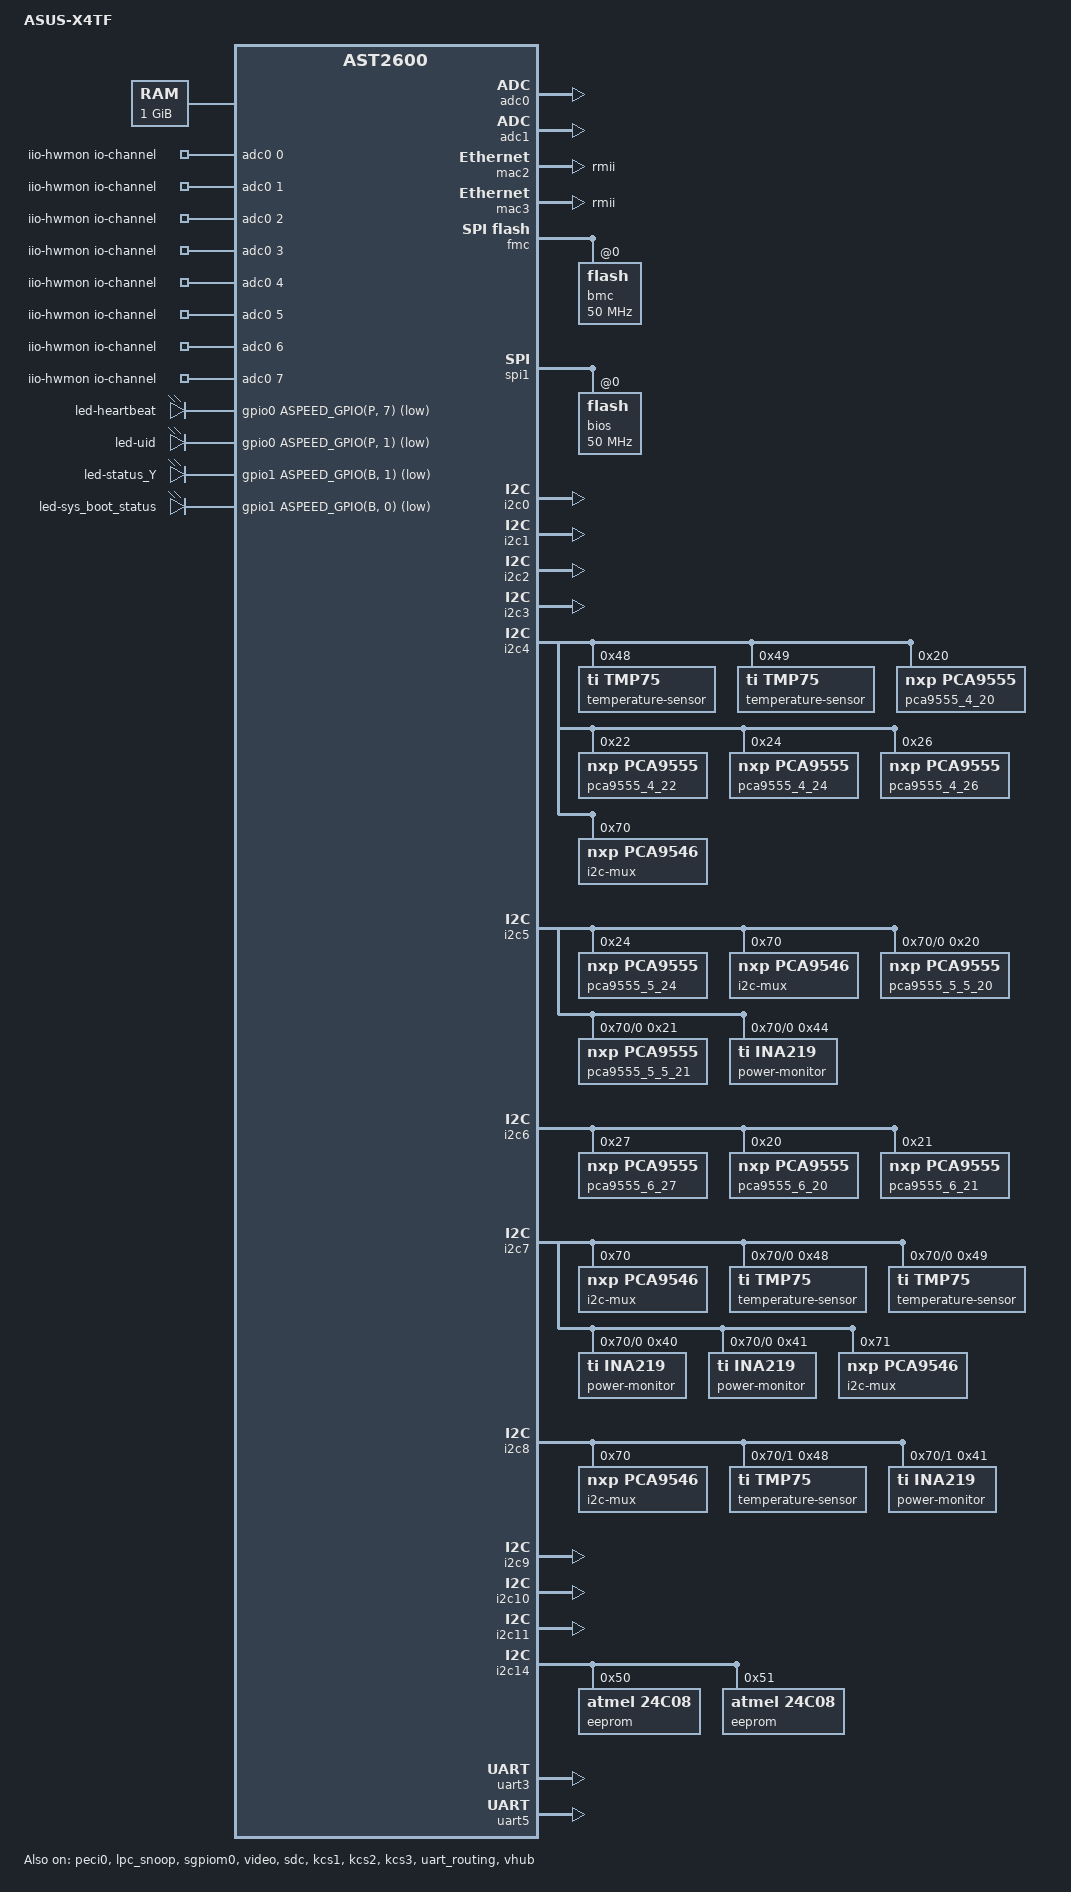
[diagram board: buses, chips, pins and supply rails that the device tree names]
// SPDX-License-Identifier: GPL-2.0-or-later
// Copyright 2024 ASUS Corp.

/dts-v1/;

#include "aspeed-g6.dtsi"
#include "aspeed-g6-pinctrl.dtsi"
#include <dt-bindings/i2c/i2c.h>
#include <dt-bindings/gpio/aspeed-gpio.h>

/ {
	model = "ASUS-X4TF";
	compatible = "asus,x4tf-bmc", "aspeed,ast2600";

	aliases {
		serial4 = &uart5;
	};

	chosen {
		stdout-path = "serial4:115200n8";
	};

	memory@80000000 {
		device_type = "memory";
		reg = <0x80000000 0x40000000>;
	};

	reserved-memory {
		#address-cells = <1>;
		#size-cells = <1>;
		ranges;

		video_engine_memory: video {
			size = <0x04000000>;
			alignment = <0x01000000>;
			compatible = "shared-dma-pool";
			reusable;
		};
	};

	iio-hwmon {
		compatible = "iio-hwmon";
		io-channels = <&adc0 0>, <&adc0 1>, <&adc0 2>, <&adc0 3>,
				<&adc0 4>, <&adc0 5>, <&adc0 6>, <&adc0 7>,
				<&adc1 0>, <&adc1 1>, <&adc1 2>, <&adc1 3>,
				<&adc1 4>, <&adc1 5>, <&adc1 6>, <&adc1 7>;
	};

	leds {
		compatible = "gpio-leds";

		led-heartbeat {
			gpios = <&gpio0 ASPEED_GPIO(P, 7) GPIO_ACTIVE_LOW>;
			linux,default-trigger = "heartbeat";
		};

		led-uid {
			gpios = <&gpio0 ASPEED_GPIO(P, 1) (GPIO_ACTIVE_LOW | GPIO_OPEN_DRAIN)>;
			default-state = "off";
		};

		led-status_Y {
			gpios = <&gpio1 ASPEED_GPIO(B, 1) GPIO_ACTIVE_LOW>;
			default-state = "off";
		};

		led-sys_boot_status {
			gpios = <&gpio1 ASPEED_GPIO(B, 0) GPIO_ACTIVE_LOW>;
			default-state = "off";
		};
	};
};

&adc0 {
	vref = <2500>;
	status = "okay";
	pinctrl-names = "default";
	pinctrl-0 = <&pinctrl_adc0_default &pinctrl_adc1_default
		&pinctrl_adc2_default &pinctrl_adc3_default
		&pinctrl_adc4_default &pinctrl_adc5_default
		&pinctrl_adc6_default &pinctrl_adc7_default>;
};

&adc1 {
	vref = <2500>;
	status = "okay";
	pinctrl-names = "default";
	pinctrl-0 = <&pinctrl_adc8_default &pinctrl_adc9_default
		&pinctrl_adc10_default &pinctrl_adc11_default
		&pinctrl_adc12_default &pinctrl_adc13_default
		&pinctrl_adc14_default &pinctrl_adc15_default>;
};

&peci0 {
	status = "okay";
};

&lpc_snoop {
	snoop-ports = <0x80>;
	status = "okay";
};

&mac2 {
	status = "okay";
	phy-mode = "rmii";
	use-ncsi;
	pinctrl-names = "default";
	pinctrl-0 = <&pinctrl_rmii3_default>;
};

&mac3 {
	status = "okay";
	phy-mode = "rmii";
	use-ncsi;
	pinctrl-names = "default";
	pinctrl-0 = <&pinctrl_rmii4_default>;
};

&fmc {
	status = "okay";

	flash@0 {
		status = "okay";
		m25p,fast-read;
		label = "bmc";
		spi-max-frequency = <50000000>;
#include "openbmc-flash-layout-64.dtsi"
	};
};

&spi1 {
	status = "okay";
	pinctrl-names = "default";
	pinctrl-0 = <&pinctrl_spi1_default>;

	flash@0 {
		status = "okay";
		label = "bios";
		spi-max-frequency = <50000000>;
	};
};

&i2c0 {
	status = "okay";
};

&i2c1 {
	status = "okay";
};

&i2c2 {
	status = "okay";
};

&i2c3 {
	status = "okay";
};

&i2c4 {
	status = "okay";

	temperature-sensor@48 {
		compatible = "ti,tmp75";
		reg = <0x48>;
	};

	temperature-sensor@49 {
		compatible = "ti,tmp75";
		reg = <0x49>;
	};

	pca9555_4_20: gpio@20 {
		compatible = "nxp,pca9555";
		reg = <0x20>;
		gpio-controller;
		#gpio-cells = <2>;
	};

	pca9555_4_22: gpio@22 {
		compatible = "nxp,pca9555";
		reg = <0x22>;
		gpio-controller;
		#gpio-cells = <2>;
	};

	pca9555_4_24: gpio@24 {
		compatible = "nxp,pca9555";
		reg = <0x24>;
		gpio-controller;
		#gpio-cells = <2>;
		gpio-line-names =
		/*A0 - A3 0*/	"", "STRAP_BMC_BATTERY_GPIO1", "", "",
		/*A4 - A7 4*/	"", "", "", "",
		/*B0 - B7 8*/	"", "", "", "", "", "", "", "";
	};

	pca9555_4_26: gpio@26 {
		compatible = "nxp,pca9555";
		reg = <0x26>;
		gpio-controller;
		#gpio-cells = <2>;
	};

	i2c-mux@70 {
		compatible = "nxp,pca9546";
		status = "okay";
		reg = <0x70>;
		#address-cells = <1>;
		#size-cells = <0>;

		channel_1: i2c@0 {
			#address-cells = <1>;
			#size-cells = <0>;
			reg = <0>;
		};

		channel_2: i2c@1 {
			#address-cells = <1>;
			#size-cells = <0>;
			reg = <1>;
		};

		channel_3: i2c@2 {
			#address-cells = <1>;
			#size-cells = <0>;
			reg = <2>;
		};

		channel_4: i2c@3 {
			#address-cells = <1>;
			#size-cells = <0>;
			reg = <3>;
		};
	};
};

&i2c5 {
	status = "okay";

	pca9555_5_24: gpio@24 {
		compatible = "nxp,pca9555";
		reg = <0x24>;
		gpio-controller;
		#gpio-cells = <2>;
	};

	i2c-mux@70  {
		compatible = "nxp,pca9546";
		status = "okay";
		reg = <0x70 >;
		#address-cells = <1>;
		#size-cells = <0>;

		channel_5: i2c@0 {
			#address-cells = <1>;
			#size-cells = <0>;
			reg = <0>;

			pca9555_5_5_20: gpio@20 {
				compatible = "nxp,pca9555";
				reg = <0x20>;
				gpio-controller;
				#gpio-cells = <2>;
				gpio-line-names =
					"", "", "", "", "", "", "", "",
					"", "", "SYS_FAN6", "SYS_FAN5",
					"SYS_FAN4", "SYS_FAN3",
					"SYS_FAN2", "SYS_FAN1";
			};

			pca9555_5_5_21: gpio@21 {
				compatible = "nxp,pca9555";
				reg = <0x21>;
				gpio-controller;
				#gpio-cells = <2>;
			};

			power-monitor@44 {
				compatible = "ti,ina219";
				reg = <0x44>;
				shunt-resistor = <2>;
			};
		};

		channel_6: i2c@1 {
			#address-cells = <1>;
			#size-cells = <0>;
			reg = <1>;
		};

		channel_7: i2c@2 {
			#address-cells = <1>;
			#size-cells = <0>;
			reg = <2>;
		};

		channel_8: i2c@3 {
			#address-cells = <1>;
			#size-cells = <0>;
			reg = <3>;
		};
	};
};

&i2c6 {
	status = "okay";

	pca9555_6_27: gpio@27 {
		compatible = "nxp,pca9555";
		reg = <0x27>;
		gpio-controller;
		#gpio-cells = <2>;
	};

	pca9555_6_20: gpio@20 {
		compatible = "nxp,pca9555";
		reg = <0x20>;
		gpio-controller;
		#gpio-cells = <2>;
		gpio-line-names =
		/*A0 0*/	"", "", "", "", "", "", "", "",
		/*B0 8*/	"Drive_NVMe1", "Drive_NVMe2", "", "",
		/*B4 12*/	"", "", "", "";
	};

	pca9555_6_21: gpio@21 {
		compatible = "nxp,pca9555";
		reg = <0x21>;
		gpio-controller;
		#gpio-cells = <2>;
	};
};

&i2c7 {
	status = "okay";

	i2c-mux@70 {
		compatible = "nxp,pca9546";
		status = "okay";
		reg = <0x70>;
		#address-cells = <1>;
		#size-cells = <0>;
		idle-state = <1>;

		channel_9: i2c@0 {
			#address-cells = <1>;
			#size-cells = <0>;
			reg = <0>;

			temperature-sensor@48 {
				compatible = "ti,tmp75";
				reg = <0x48>;
			};

			temperature-sensor@49 {
				compatible = "ti,tmp75";
				reg = <0x49>;
			};

			power-monitor@40 {
				compatible = "ti,ina219";
				reg = <0x40>;
				shunt-resistor = <2>;
			};

			power-monitor@41 {
				compatible = "ti,ina219";
				reg = <0x41>;
				shunt-resistor = <5>;
			};
		};

		channel_10: i2c@1 {
			#address-cells = <1>;
			#size-cells = <0>;
			reg = <1>;
		};

		channel_11: i2c@2 {
			#address-cells = <1>;
			#size-cells = <0>;
			reg = <2>;
		};

		channel_12: i2c@3 {
			#address-cells = <1>;
			#size-cells = <0>;
			reg = <3>;
		};
	};

	i2c-mux@71 {
		compatible = "nxp,pca9546";
		status = "okay";
		reg = <0x71>;
		#address-cells = <1>;
		#size-cells = <0>;
		i2c-mux-idle-disconnect;

		channel_13: i2c@0 {
			#address-cells = <1>;
			#size-cells = <0>;
			reg = <0>;
		};

		channel_14: i2c@1 {
			#address-cells = <1>;
			#size-cells = <0>;
			reg = <1>;
		};

		channel_15: i2c@2 {
			#address-cells = <1>;
			#size-cells = <0>;
			reg = <2>;
		};

		channel_16: i2c@3 {
			#address-cells = <1>;
			#size-cells = <0>;
			reg = <3>;
		};
	};
};

&i2c8 {
	status = "okay";

	i2c-mux@70 {
		compatible = "nxp,pca9546";
		status = "okay";
		reg = <0x70>;
		#address-cells = <1>;
		#size-cells = <0>;
		i2c-mux-idle-disconnect;

		channel_17: i2c@0 {
			#address-cells = <1>;
			#size-cells = <0>;
			reg = <0>;
		};

		channel_18: i2c@1 {
			#address-cells = <1>;
			#size-cells = <0>;
			reg = <1>;

			temperature-sensor@48 {
				compatible = "ti,tmp75";
				reg = <0x48>;
			};

			power-monitor@41 {
				compatible = "ti,ina219";
				reg = <0x41>;
				shunt-resistor = <5>;
			};
		};

		channel_19: i2c@2 {
			#address-cells = <1>;
			#size-cells = <0>;
			reg = <2>;
		};

		channel_20: i2c@3 {
			#address-cells = <1>;
			#size-cells = <0>;
			reg = <3>;
		};
	};
};

&i2c9 {
	status = "okay";
};

&i2c10 {
	status = "okay";
};

&i2c11 {
	status = "okay";
};

&i2c14 {
	status = "okay";
	multi-master;

	eeprom@50 {
		compatible = "atmel,24c08";
		reg = <0x50>;
	};

	eeprom@51 {
		compatible = "atmel,24c08";
		reg = <0x51>;
	};
};

&sgpiom0 {
	status = "okay";
	ngpios = <128>;
};

&video {
	status = "okay";
	memory-region = <&video_engine_memory>;
};

&sdc {
	status = "okay";
};

&lpc_snoop {
	status = "okay";
	snoop-ports = <0x80>;
};

&kcs1 {
	aspeed,lpc-io-reg = <0xca0>;
	status = "okay";
};

&kcs2 {
	aspeed,lpc-io-reg = <0xca8>;
	status = "okay";
};

&kcs3 {
	aspeed,lpc-io-reg = <0xca2>;
	status = "okay";
};

&uart3 {
	status = "okay";
};

&uart5 {
	status = "okay";
};

&uart_routing {
	status = "okay";
};

&vhub {
	status = "okay";
};

&gpio0 {
	gpio-line-names =
	/*A0 0*/	"", "", "", "", "", "", "", "",
	/*B0 8*/	"", "", "", "", "", "", "PS_PWROK", "",
	/*C0 16*/	"", "", "", "", "", "", "", "",
	/*D0 24*/	"", "", "", "", "", "", "", "",
	/*E0 32*/	"", "", "", "", "", "", "", "",
	/*F0 40*/	"", "", "", "", "", "", "", "",
	/*G0 48*/	"", "", "", "", "", "", "", "",
	/*H0 56*/	"", "", "", "", "", "", "", "",
	/*I0 64*/	"", "", "", "", "", "", "", "",
	/*J0 72*/	"", "", "", "", "", "", "", "",
	/*K0 80*/	"", "", "", "", "", "", "", "",
	/*L0 88*/	"", "", "", "", "", "", "", "",
	/*M0 96*/	"", "", "", "", "", "", "", "",
	/*N0 104*/	"", "", "", "",
	/*N4 108*/	"POST_COMPLETE", "ESR1_GPIO_AST_SPISEL", "", "",
	/*O0 112*/	"", "", "", "", "", "", "", "",
	/*P0 120*/	"ID_BUTTON", "ID_OUT", "POWER_BUTTON", "POWER_OUT",
	/*P4 124*/	"RESET_BUTTON", "RESET_OUT", "", "HEARTBEAT",
	/*Q0 128*/	"", "", "", "", "", "", "", "",
	/*R0 136*/	"", "", "", "", "", "", "", "",
	/*S0 144*/	"", "", "", "", "", "", "", "",
	/*T0 152*/	"", "", "", "", "", "", "", "",
	/*U0 160*/	"", "", "", "", "", "", "", "",
	/*V0 168*/	"", "", "", "", "", "", "", "",
	/*W0 176*/	"", "", "", "", "", "", "", "",
	/*X0 184*/	"", "", "", "", "", "", "", "",
	/*Y0 192*/	"", "", "", "", "", "", "", "",
	/*Z0 200*/	"", "", "", "", "", "", "", "";
};
